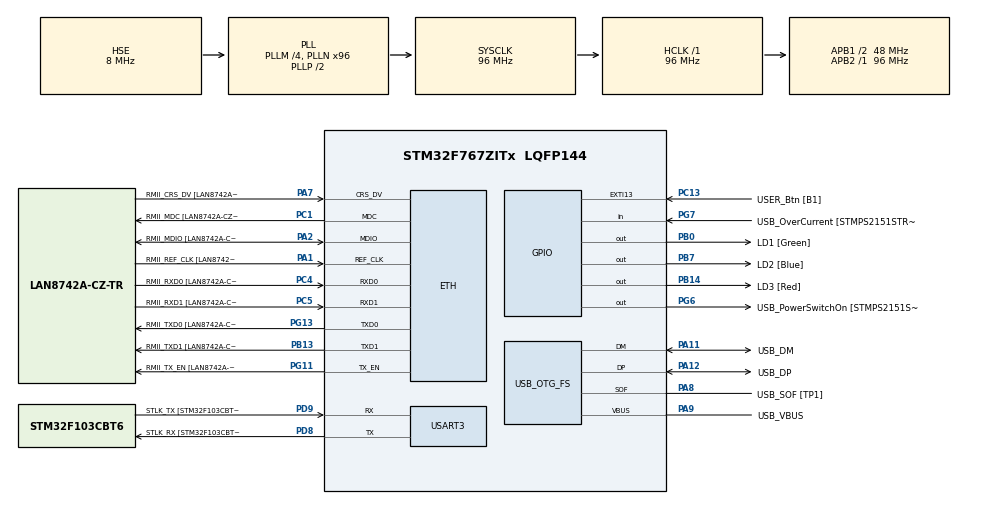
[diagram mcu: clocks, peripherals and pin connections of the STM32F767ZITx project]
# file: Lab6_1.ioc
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ETH.MediaInterface=HAL_ETH_RMII_MODE
ETH.PHY_Name=LAN8742A_PHY_ADDRESS
ETH.PHY_Value=0
ETH.PhyAddress=0
Mcu.Family=STM32F7
Mcu.Name=STM32F767ZITx
Mcu.Package=LQFP144
NVIC.PriorityGroup=NVIC_PRIORITYGROUP_2
NVIC.TIM1_UP_TIM10_IRQn=true\:1\:0\:true\:false\:true\:true\:true\:true
NVIC.TIM2_IRQn=true\:2\:0\:true\:false\:true\:true\:true\:true
PA1.GPIO_Label=RMII_REF_CLK [LAN8742A-CZ-TR_REFCLK0]
PA1.Mode=RMII
PA1.Signal=ETH_REF_CLK
PA10.GPIO_Label=USB_ID
PA10.Signal=USB_OTG_FS_ID
PA11.GPIO_Label=USB_DM
PA11.Mode=Device_Only
PA11.Signal=USB_OTG_FS_DM
PA12.GPIO_Label=USB_DP
PA12.Mode=Device_Only
PA12.Signal=USB_OTG_FS_DP
PA13.GPIO_Label=TMS
PA13.Mode=Serial_Wire
PA13.Signal=SYS_JTMS-SWDIO
PA14.GPIO_Label=TCK
PA14.Mode=Serial_Wire
PA14.Signal=SYS_JTCK-SWCLK
PA2.GPIO_Label=RMII_MDIO [LAN8742A-CZ-TR_MDIO]
PA2.Mode=RMII
PA2.Signal=ETH_MDIO
PA7.GPIO_Label=RMII_CRS_DV [LAN8742A-CZ-TR_CRS_DV]
PA7.Mode=RMII
PA7.Signal=ETH_CRS_DV
PA8.GPIO_Label=USB_SOF [TP1]
PA8.Mode=Activate_SOF_FS
PA8.Signal=USB_OTG_FS_SOF
PA9.GPIO_Label=USB_VBUS
PA9.Mode=Activate_VBUS
PA9.Signal=USB_OTG_FS_VBUS
PB0.GPIO_Label=LD1 [Green]
PB0.Signal=GPIO_Output
PB13.GPIO_Label=RMII_TXD1 [LAN8742A-CZ-TR_TXD1]
PB13.Mode=RMII
PB13.Signal=ETH_TXD1
PB14.GPIO_Label=LD3 [Red]
PB14.Signal=GPIO_Output
PB3.GPIO_Label=SWO
PB3.Signal=SYS_JTDO-SWO
PB7.GPIO_Label=LD2 [Blue]
PB7.Signal=GPIO_Output
PC1.GPIO_Label=RMII_MDC [LAN8742A-CZ-TR_MDC]
PC1.Mode=RMII
PC1.Signal=ETH_MDC
PC13.GPIO_Label=USER_Btn [B1]
PC13.Signal=GPXTI13
PC14/OSC32_IN.Mode=LSE-External-Oscillator
PC14/OSC32_IN.Signal=RCC_OSC32_IN
PC15/OSC32_OUT.Mode=LSE-External-Oscillator
PC15/OSC32_OUT.Signal=RCC_OSC32_OUT
PC4.GPIO_Label=RMII_RXD0 [LAN8742A-CZ-TR_RXD0]
PC4.Mode=RMII
PC4.Signal=ETH_RXD0
PC5.GPIO_Label=RMII_RXD1 [LAN8742A-CZ-TR_RXD1]
PC5.Mode=RMII
PC5.Signal=ETH_RXD1
PD8.GPIO_Label=STLK_RX [STM32F103CBT6_PA3]
PD8.Mode=Asynchronous
PD8.Signal=USART3_TX
PD9.GPIO_Label=STLK_TX [STM32F103CBT6_PA2]
PD9.Mode=Asynchronous
PD9.Signal=USART3_RX
PG11.GPIO_Label=RMII_TX_EN [LAN8742A-CZ-TR_TXEN]
PG11.Mode=RMII
PG11.Signal=ETH_TX_EN
PG13.GPIO_Label=RMII_TXD0 [LAN8742A-CZ-TR_TXD0]
PG13.Mode=RMII
PG13.Signal=ETH_TXD0
PG6.GPIO_Label=USB_PowerSwitchOn [STMPS2151STR_EN]
PG6.Signal=GPIO_Output
PG7.GPIO_Label=USB_OverCurrent [STMPS2151STR_FAULT]
PG7.Signal=GPIO_Input
PH0/OSC_IN.GPIO_Label=MCO [STM32F103CBT6_PA8]
PH0/OSC_IN.Mode=HSE-External-Clock-Source
PH0/OSC_IN.Signal=RCC_OSC_IN
PH1/OSC_OUT.Mode=HSE-External-Clock-Source
PH1/OSC_OUT.Signal=RCC_OSC_OUT
ProjectManager.HeapSize=0x200
ProjectManager.StackSize=0x400
ProjectManager.TargetToolchain=STM32CubeIDE
RCC.48MHZClocksFreq_Value=24000000
RCC.AHBFreq_Value=96000000
RCC.APB1CLKDivider=RCC_HCLK_DIV2
RCC.APB1Freq_Value=48000000
RCC.APB1TimFreq_Value=96000000
RCC.APB2Freq_Value=96000000
RCC.APB2TimFreq_Value=96000000
RCC.CortexFreq_Value=96000000
RCC.HCLKFreq_Value=96000000
RCC.HSE_VALUE=8000000
RCC.HSI_VALUE=16000000
RCC.PLLM=4
RCC.PLLMUL=RCC_PLL_MUL9
RCC.PLLN=96
RCC.PLLQ=4
RCC.PRESCALERUSB=RCC_USBCLKSOURCE_PLL_DIV1_5
RCC.SYSCLKFreq_VALUE=96000000
RCC.SYSCLKSource=RCC_SYSCLKSOURCE_PLLCLK
RCC.SYSCLKSourceVirtual=RCC_SYSCLKSOURCE_PLLCLK
RCC.USBFreq_Value=48000000
RCC.VCOOutputFreq_Value=192000000
TIM1.Period=50000
TIM1.Prescaler=1920
TIM2.Period=400000
TIM2.Prescaler=96
USART3.VirtualMode-Asynchronous=VM_ASYNC
USB_OTG_FS.VirtualMode=Device_Only
VP_TIM1_VS_ClockSourceINT.Mode=Internal
VP_TIM2_VS_ClockSourceINT.Mode=Internal
board=NUCLEO-F767ZI

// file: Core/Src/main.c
/* USER CODE BEGIN Header */
/**
  ******************************************************************************
  * @file           : main.c
  * @brief          : Main program body
  ******************************************************************************
  * @attention
  *
  * Copyright (c) 2023 STMicroelectronics.
  * All rights reserved.
  *
  * This software is licensed under terms that can be found in the LICENSE file
  * in the root directory of this software component.
  * If no LICENSE file comes with this software, it is provided AS-IS.
  *
  ******************************************************************************
  */
/* USER CODE END Header */
#include "main.h"
#include "string.h"

#if defined ( __ICCARM__ ) /*!< IAR Compiler */
#pragma location=0x2007c000
ETH_DMADescTypeDef  DMARxDscrTab[ETH_RX_DESC_CNT]; /* Ethernet Rx DMA Descriptors */
#pragma location=0x2007c0a0
ETH_DMADescTypeDef  DMATxDscrTab[ETH_TX_DESC_CNT]; /* Ethernet Tx DMA Descriptors */

#elif defined ( __CC_ARM )  /* MDK ARM Compiler */

__attribute__((at(0x2007c000))) ETH_DMADescTypeDef  DMARxDscrTab[ETH_RX_DESC_CNT]; /* Ethernet Rx DMA Descriptors */
__attribute__((at(0x2007c0a0))) ETH_DMADescTypeDef  DMATxDscrTab[ETH_TX_DESC_CNT]; /* Ethernet Tx DMA Descriptors */

#elif defined ( __GNUC__ ) /* GNU Compiler */
ETH_DMADescTypeDef DMARxDscrTab[ETH_RX_DESC_CNT] __attribute__((section(".RxDecripSection"))); /* Ethernet Rx DMA Descriptors */
ETH_DMADescTypeDef DMATxDscrTab[ETH_TX_DESC_CNT] __attribute__((section(".TxDecripSection")));   /* Ethernet Tx DMA Descriptors */

#endif

ETH_TxPacketConfig TxConfig;

ETH_HandleTypeDef heth;

TIM_HandleTypeDef htim1;
TIM_HandleTypeDef htim2;

UART_HandleTypeDef huart3;

PCD_HandleTypeDef hpcd_USB_OTG_FS;

/* USER CODE BEGIN PV */
uint32_t count;
uint32_t count2;
/* USER CODE END PV */

void SystemClock_Config(void);
static void MX_GPIO_Init(void);
static void MX_ETH_Init(void);
static void MX_USART3_UART_Init(void);
static void MX_USB_OTG_FS_PCD_Init(void);
static void MX_TIM1_Init(void);
static void MX_TIM2_Init(void);

int main(void)
{

  /* MCU Configuration--------------------------------------------------------*/

  /* Reset of all peripherals, Initializes the Flash interface and the Systick. */
  HAL_Init();

  /* Configure the system clock */
  SystemClock_Config();

  /* Initialize all configured peripherals */
  MX_GPIO_Init();
  MX_ETH_Init();
  MX_USART3_UART_Init();
  MX_USB_OTG_FS_PCD_Init();
  MX_TIM1_Init();
  MX_TIM2_Init();
  /* USER CODE BEGIN 2 */
  uint32_t n = 0;
  	uint32_t sec = 0;
  	uint32_t min = 0;
  	HAL_TIM_Base_Start_IT(&htim1);
  	HAL_TIM_Base_Start_IT(&htim2);
  /* USER CODE END 2 */

  /* Infinite loop */
  /* USER CODE BEGIN WHILE */
  while (1)
  {
	  displayNumber(count);
	  HAL_Delay(400);

//		  displayNumber(count);
//		  HAL_Delay(500);

//	  sec = count ;
//	  		if (sec >= 60) {
//	  			count = 0;
//	  			min++;
//	  			if (min >= 60) {
//	  				min = 0;
//	  			}
//	  		}
//	  	if (count2 > n) {
//	  		if (min < 10) {
//	  			while (__HAL_UART_GET_FLAG(&huart3,UART_FLAG_TC) == RESET) {
//	  			}
//	  			HAL_UART_Transmit(&huart3, (uint8_t*) "0", 1, 100);
//	  		}
//	  		displayNumber(min);
//	  		while (__HAL_UART_GET_FLAG(&huart3,UART_FLAG_TC) == RESET) {
//	  		}
//	  		HAL_UART_Transmit(&huart3, (uint8_t*) ":", 1, 100);
//	  		if (sec < 10) {
//	  			while (__HAL_UART_GET_FLAG(&huart3,UART_FLAG_TC) == RESET) {
//	  			}
//	  			HAL_UART_Transmit(&huart3, (uint8_t*) "0", 1, 100);
//	  		}
//	  		displayNumber(sec);
//	  		while (__HAL_UART_GET_FLAG(&huart3,UART_FLAG_TC) == RESET) {
//	  		}
//	  		HAL_UART_Transmit(&huart3, (uint8_t*) "\r", 1, 100);
//	  		n = count2;
//	  	}
    /* USER CODE END WHILE */

  }
}

void SystemClock_Config(void)
{
  RCC_OscInitTypeDef RCC_OscInitStruct = {0};
  RCC_ClkInitTypeDef RCC_ClkInitStruct = {0};

  /** Configure LSE Drive Capability
  */
  HAL_PWR_EnableBkUpAccess();

  /** Configure the main internal regulator output voltage
  */
  __HAL_RCC_PWR_CLK_ENABLE();
  __HAL_PWR_VOLTAGESCALING_CONFIG(PWR_REGULATOR_VOLTAGE_SCALE3);

  /** Initializes the RCC Oscillators according to the specified parameters
  * in the RCC_OscInitTypeDef structure.
  */
  RCC_OscInitStruct.OscillatorType = RCC_OSCILLATORTYPE_HSE;
  RCC_OscInitStruct.HSEState = RCC_HSE_BYPASS;
  RCC_OscInitStruct.PLL.PLLState = RCC_PLL_ON;
  RCC_OscInitStruct.PLL.PLLSource = RCC_PLLSOURCE_HSE;
  RCC_OscInitStruct.PLL.PLLM = 4;
  RCC_OscInitStruct.PLL.PLLN = 96;
  RCC_OscInitStruct.PLL.PLLP = RCC_PLLP_DIV2;
  RCC_OscInitStruct.PLL.PLLQ = 4;
  RCC_OscInitStruct.PLL.PLLR = 2;
  if (HAL_RCC_OscConfig(&RCC_OscInitStruct) != HAL_OK)
  {
    Error_Handler();
  }

  /** Activate the Over-Drive mode
  */
  if (HAL_PWREx_EnableOverDrive() != HAL_OK)
  {
    Error_Handler();
  }

  /** Initializes the CPU, AHB and APB buses clocks
  */
  RCC_ClkInitStruct.ClockType = RCC_CLOCKTYPE_HCLK|RCC_CLOCKTYPE_SYSCLK
                              |RCC_CLOCKTYPE_PCLK1|RCC_CLOCKTYPE_PCLK2;
  RCC_ClkInitStruct.SYSCLKSource = RCC_SYSCLKSOURCE_PLLCLK;
  RCC_ClkInitStruct.AHBCLKDivider = RCC_SYSCLK_DIV1;
  RCC_ClkInitStruct.APB1CLKDivider = RCC_HCLK_DIV2;
  RCC_ClkInitStruct.APB2CLKDivider = RCC_HCLK_DIV1;

  if (HAL_RCC_ClockConfig(&RCC_ClkInitStruct, FLASH_LATENCY_3) != HAL_OK)
  {
    Error_Handler();
  }
}

static void MX_ETH_Init(void)
{

   static uint8_t MACAddr[6];

  heth.Instance = ETH;
  MACAddr[0] = 0x00;
  MACAddr[1] = 0x80;
  MACAddr[2] = 0xE1;
  MACAddr[3] = 0x00;
  MACAddr[4] = 0x00;
  MACAddr[5] = 0x00;
  heth.Init.MACAddr = &MACAddr[0];
  heth.Init.MediaInterface = HAL_ETH_RMII_MODE;
  heth.Init.TxDesc = DMATxDscrTab;
  heth.Init.RxDesc = DMARxDscrTab;
  heth.Init.RxBuffLen = 1524;

  if (HAL_ETH_Init(&heth) != HAL_OK)
  {
    Error_Handler();
  }

  memset(&TxConfig, 0 , sizeof(ETH_TxPacketConfig));
  TxConfig.Attributes = ETH_TX_PACKETS_FEATURES_CSUM | ETH_TX_PACKETS_FEATURES_CRCPAD;
  TxConfig.ChecksumCtrl = ETH_CHECKSUM_IPHDR_PAYLOAD_INSERT_PHDR_CALC;
  TxConfig.CRCPadCtrl = ETH_CRC_PAD_INSERT;

}

static void MX_TIM1_Init(void)
{

  TIM_ClockConfigTypeDef sClockSourceConfig = {0};
  TIM_MasterConfigTypeDef sMasterConfig = {0};

  htim1.Instance = TIM1;
  htim1.Init.Prescaler = 1920;
  htim1.Init.CounterMode = TIM_COUNTERMODE_UP;
  htim1.Init.Period = 50000;
  htim1.Init.ClockDivision = TIM_CLOCKDIVISION_DIV1;
  htim1.Init.RepetitionCounter = 0;
  htim1.Init.AutoReloadPreload = TIM_AUTORELOAD_PRELOAD_DISABLE;
  if (HAL_TIM_Base_Init(&htim1) != HAL_OK)
  {
    Error_Handler();
  }
  sClockSourceConfig.ClockSource = TIM_CLOCKSOURCE_INTERNAL;
  if (HAL_TIM_ConfigClockSource(&htim1, &sClockSourceConfig) != HAL_OK)
  {
    Error_Handler();
  }
  sMasterConfig.MasterOutputTrigger = TIM_TRGO_RESET;
  sMasterConfig.MasterOutputTrigger2 = TIM_TRGO2_RESET;
  sMasterConfig.MasterSlaveMode = TIM_MASTERSLAVEMODE_DISABLE;
  if (HAL_TIMEx_MasterConfigSynchronization(&htim1, &sMasterConfig) != HAL_OK)
  {
    Error_Handler();
  }

}

static void MX_TIM2_Init(void)
{

  TIM_ClockConfigTypeDef sClockSourceConfig = {0};
  TIM_MasterConfigTypeDef sMasterConfig = {0};

  htim2.Instance = TIM2;
  htim2.Init.Prescaler = 96;
  htim2.Init.CounterMode = TIM_COUNTERMODE_UP;
  htim2.Init.Period = 400000;
  htim2.Init.ClockDivision = TIM_CLOCKDIVISION_DIV1;
  htim2.Init.AutoReloadPreload = TIM_AUTORELOAD_PRELOAD_DISABLE;
  if (HAL_TIM_Base_Init(&htim2) != HAL_OK)
  {
    Error_Handler();
  }
  sClockSourceConfig.ClockSource = TIM_CLOCKSOURCE_INTERNAL;
  if (HAL_TIM_ConfigClockSource(&htim2, &sClockSourceConfig) != HAL_OK)
  {
    Error_Handler();
  }
  sMasterConfig.MasterOutputTrigger = TIM_TRGO_RESET;
  sMasterConfig.MasterSlaveMode = TIM_MASTERSLAVEMODE_DISABLE;
  if (HAL_TIMEx_MasterConfigSynchronization(&htim2, &sMasterConfig) != HAL_OK)
  {
    Error_Handler();
  }

}

static void MX_USART3_UART_Init(void)
{

  huart3.Instance = USART3;
  huart3.Init.BaudRate = 115200;
  huart3.Init.WordLength = UART_WORDLENGTH_8B;
  huart3.Init.StopBits = UART_STOPBITS_1;
  huart3.Init.Parity = UART_PARITY_NONE;
  huart3.Init.Mode = UART_MODE_TX_RX;
  huart3.Init.HwFlowCtl = UART_HWCONTROL_NONE;
  huart3.Init.OverSampling = UART_OVERSAMPLING_16;
  huart3.Init.OneBitSampling = UART_ONE_BIT_SAMPLE_DISABLE;
  huart3.AdvancedInit.AdvFeatureInit = UART_ADVFEATURE_NO_INIT;
  if (HAL_UART_Init(&huart3) != HAL_OK)
  {
    Error_Handler();
  }

}

static void MX_USB_OTG_FS_PCD_Init(void)
{

  hpcd_USB_OTG_FS.Instance = USB_OTG_FS;
  hpcd_USB_OTG_FS.Init.dev_endpoints = 6;
  hpcd_USB_OTG_FS.Init.speed = PCD_SPEED_FULL;
  hpcd_USB_OTG_FS.Init.dma_enable = DISABLE;
  hpcd_USB_OTG_FS.Init.phy_itface = PCD_PHY_EMBEDDED;
  hpcd_USB_OTG_FS.Init.Sof_enable = ENABLE;
  hpcd_USB_OTG_FS.Init.low_power_enable = DISABLE;
  hpcd_USB_OTG_FS.Init.lpm_enable = DISABLE;
  hpcd_USB_OTG_FS.Init.vbus_sensing_enable = ENABLE;
  hpcd_USB_OTG_FS.Init.use_dedicated_ep1 = DISABLE;
  if (HAL_PCD_Init(&hpcd_USB_OTG_FS) != HAL_OK)
  {
    Error_Handler();
  }

}

static void MX_GPIO_Init(void)
{
  GPIO_InitTypeDef GPIO_InitStruct = {0};

  /* GPIO Ports Clock Enable */
  __HAL_RCC_GPIOC_CLK_ENABLE();
  __HAL_RCC_GPIOH_CLK_ENABLE();
  __HAL_RCC_GPIOA_CLK_ENABLE();
  __HAL_RCC_GPIOB_CLK_ENABLE();
  __HAL_RCC_GPIOD_CLK_ENABLE();
  __HAL_RCC_GPIOG_CLK_ENABLE();

  /*Configure GPIO pin Output Level */
  HAL_GPIO_WritePin(GPIOB, LD1_Pin|LD3_Pin|LD2_Pin, GPIO_PIN_RESET);

  /*Configure GPIO pin Output Level */
  HAL_GPIO_WritePin(USB_PowerSwitchOn_GPIO_Port, USB_PowerSwitchOn_Pin, GPIO_PIN_RESET);

  /*Configure GPIO pin : USER_Btn_Pin */
  GPIO_InitStruct.Pin = USER_Btn_Pin;
  GPIO_InitStruct.Mode = GPIO_MODE_IT_RISING;
  GPIO_InitStruct.Pull = GPIO_NOPULL;
  HAL_GPIO_Init(USER_Btn_GPIO_Port, &GPIO_InitStruct);

  /*Configure GPIO pins : LD1_Pin LD3_Pin LD2_Pin */
  GPIO_InitStruct.Pin = LD1_Pin|LD3_Pin|LD2_Pin;
  GPIO_InitStruct.Mode = GPIO_MODE_OUTPUT_PP;
  GPIO_InitStruct.Pull = GPIO_NOPULL;
  GPIO_InitStruct.Speed = GPIO_SPEED_FREQ_LOW;
  HAL_GPIO_Init(GPIOB, &GPIO_InitStruct);

  /*Configure GPIO pin : USB_PowerSwitchOn_Pin */
  GPIO_InitStruct.Pin = USB_PowerSwitchOn_Pin;
  GPIO_InitStruct.Mode = GPIO_MODE_OUTPUT_PP;
  GPIO_InitStruct.Pull = GPIO_NOPULL;
  GPIO_InitStruct.Speed = GPIO_SPEED_FREQ_LOW;
  HAL_GPIO_Init(USB_PowerSwitchOn_GPIO_Port, &GPIO_InitStruct);

  /*Configure GPIO pin : USB_OverCurrent_Pin */
  GPIO_InitStruct.Pin = USB_OverCurrent_Pin;
  GPIO_InitStruct.Mode = GPIO_MODE_INPUT;
  GPIO_InitStruct.Pull = GPIO_NOPULL;
  HAL_GPIO_Init(USB_OverCurrent_GPIO_Port, &GPIO_InitStruct);

}

/* USER CODE BEGIN 4 */
void displayNumber(uint32_t num) {
char a[100];
sprintf(a, "%d", num);

while (__HAL_UART_GET_FLAG(&huart3,UART_FLAG_TC) == RESET) {
}
HAL_UART_Transmit(&huart3, (uint8_t*) a, strlen(a), 400);
while (__HAL_UART_GET_FLAG(&huart3,UART_FLAG_TC) == RESET) {
}
HAL_UART_Transmit(&huart3, (uint8_t*) "\n", 1, 400);
}
/* USER CODE END 4 */

void Error_Handler(void)
{
  __disable_irq();
  while (1)
  {
  }
}
